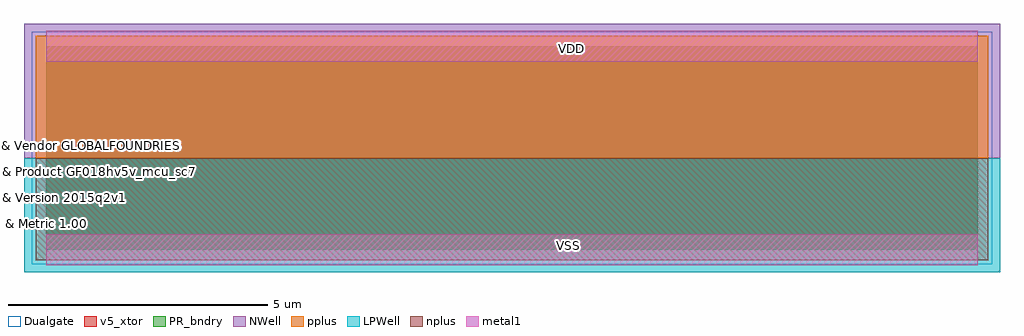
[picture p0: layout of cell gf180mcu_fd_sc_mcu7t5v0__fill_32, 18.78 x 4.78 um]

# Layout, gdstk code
import gdstk
lib = gdstk.Library(unit=1e-6, precision=1e-09)
def R(c, l, rs):  # rectangles x0, y0, x1, y1
    for r in rs: c.add(gdstk.rectangle(r[:2], r[2:], *l))
PR_bndry = (0, 0)
NWell = (21, 0)
pplus = (31, 0)
nplus = (32, 0)
metal1 = (34, 0)
Dualgate = (55, 0)
v5_xtor = (112, 1)
LPWell = (204, 0)

gf180mcu_fd_sc_mcu7t5v0_ = lib.new_cell('gf180mcu_fd_sc_mcu7t5v0__fill_32')
R(gf180mcu_fd_sc_mcu7t5v0_, PR_bndry, [(0,0,17.92,3.92)])
R(gf180mcu_fd_sc_mcu7t5v0_, NWell, [(-0.43,1.76,18.35,4.35)])
R(gf180mcu_fd_sc_mcu7t5v0_, pplus, [(-0.2,1.76,18.12,4.12)])
R(gf180mcu_fd_sc_mcu7t5v0_, nplus, [(-0.2,-0.2,18.12,1.76)])
R(gf180mcu_fd_sc_mcu7t5v0_, metal1, [(0,-0.3,17.92,0.3), (0,3.62,17.92,4.22)])
R(gf180mcu_fd_sc_mcu7t5v0_, Dualgate, [(-0.28,-0.28,18.2,4.2)])
R(gf180mcu_fd_sc_mcu7t5v0_, v5_xtor, [(0,0,17.92,3.92)])
R(gf180mcu_fd_sc_mcu7t5v0_, LPWell, [(-0.43,-0.43,18.35,1.76)])
gf180mcu_fd_sc_mcu7t5v0_.add(gdstk.Label('VDD', (10.1,3.865), layer=34, texttype=10))
gf180mcu_fd_sc_mcu7t5v0_.add(gdstk.Label('VSS', (10.045,0.08), layer=34, texttype=10))
gf180mcu_fd_sc_mcu7t5v0_.add(gdstk.Label('& Vendor GLOBALFOUNDRIES', (0,2), layer=63, texttype=63))
gf180mcu_fd_sc_mcu7t5v0_.add(gdstk.Label('& Product GF018hv5v_mcu_sc7', (0,1.5), layer=63, texttype=63))
gf180mcu_fd_sc_mcu7t5v0_.add(gdstk.Label('& Version 2015q2v1', (0,1), layer=63, texttype=63))
gf180mcu_fd_sc_mcu7t5v0_.add(gdstk.Label('& Metric 1.00', (0,0.5), layer=63, texttype=63))

lib.write_gds('gf180mcu_fd_sc_mcu7t5v0__fill_32.gds')
